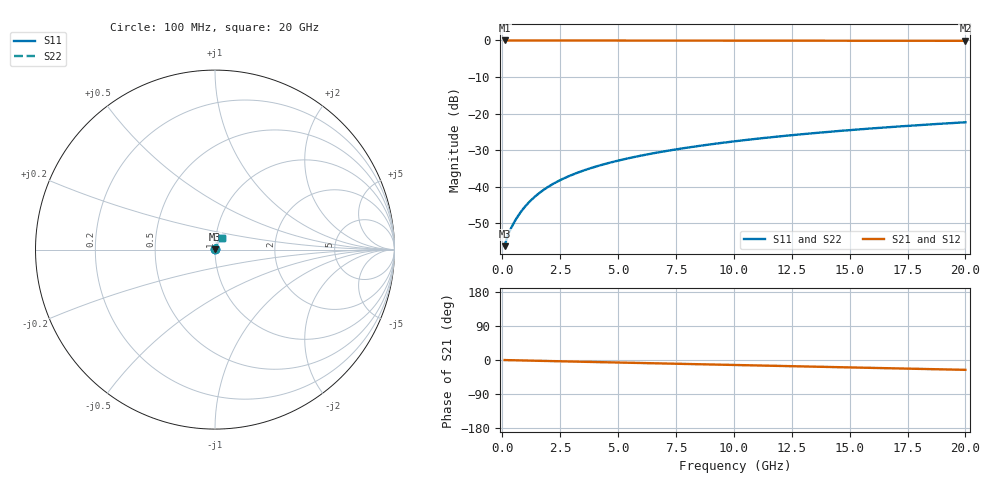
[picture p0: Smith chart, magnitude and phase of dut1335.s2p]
! Touchstone file exported from HFSS 2026.1.0
!  File:  C:/ffzhzh/LocalFiles/Ansys_Project_Files/temp_train_BSMRDL_1335_1783178762_51560.aedt
!  Generated:  11:27:15 PM Jul  4, 2026
!  Design:  BSMRDL
!  Project:  temp_train_BSMRDL_1335_1783178762_51560
! Variables:
!  h_bsmrdl = 5.08um
!  h_ox = 20um
!  h_rdl = 5um
!  h_sub = 80um
!  h_tmrdl = 5um
!  h_tsv = 80um
!  h_via = 3um
!  l_bsmrdl = 442.97um
!  l_sub = 842.97um
!  l_tmrdl = 200um
!  m_sub = 200um
!  pitch = 37.55um
!  r_tsv = 6um
!  s_tmrdl = 10um
!  w_bsmrdl = 28.63um
!  w_sub = 500um
!  w_tmrdl = 12um
!  x_tsv_center1 = 206um
!  x_tsv_center2 = 677.6um
!  x_tsv_center3 = 889.6um
!  x_tsv_center4 = 1361.2um
!  x_tsv_center5 = 1573.2um
!  x_tsv_center6 = 2044.8um
# GHz S MA R 50.000000
! Terminal data exported
! Port[1] = BSM_RDL1_1_T1
! Port[2] = BSM_RDL1_1_T2
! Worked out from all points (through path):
!   200 points, 100 MHz to 20 GHz, reference 50 ohm
!   highest |S21| = -0.01 dB at 100 MHz (marker M1); lowest = -0.1 dB at 20 GHz (marker M2)
!   group delay of S21, straight-line fit = 3.59 ps
!   lowest |S11| = -56.3 dB at 100 MHz (marker M3), VSWR 1.00, Z = 50.1 + j0.0755 ohm
!   |S11| at or under -10 dB: start of sweep to end of sweep
!   |S22| runs from -56.3 to -22.4 dB; largest |S21 - S12| = 2.2e-15
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0.1  0.001537 29.3  0.9987 -0.2  0.9987 -0.2  0.001537 29.3
! Gamma 0 0 0 0
! Port Impedance 50 0 50 0
0.2  0.002005 39.8  0.9985 -0.3  0.9985 -0.3  0.002005 39.8
0.3  0.002407 46.3  0.9983 -0.4  0.9983 -0.4  0.002407 46.3
0.5  0.003206 55.8  0.9981 -0.7  0.9981 -0.7  0.003206 55.8
0.7  0.004063 62.0  0.998 -1.0  0.998 -1.0  0.004064 62.0
0.9  0.004963 65.9  0.9979 -1.2  0.9979 -1.2  0.004963 65.9
1.1  0.005883 68.5  0.9978 -1.5  0.9978 -1.5  0.005883 68.5
1.3  0.006812 70.2  0.9978 -1.8  0.9978 -1.8  0.006811 70.1
1.7  0.008667 72.1  0.9975 -2.3  0.9975 -2.3  0.008667 72.1
2.2  0.01095 73.0  0.9972 -3.0  0.9972 -3.0  0.01095 73.0
2.8  0.01361 73.3  0.9968 -3.8  0.9968 -3.8  0.01361 73.3
3.5  0.01661 73.0  0.9963 -4.7  0.9963 -4.7  0.01661 73.0
4.2  0.0195 72.6  0.9958 -5.6  0.9958 -5.6  0.0195 72.6
5  0.02272 72.0  0.9953 -6.7  0.9953 -6.7  0.02272 72.0
5.9  0.02625 71.3  0.9947 -7.8  0.9947 -7.8  0.02625 71.3
6.8  0.02971 70.6  0.9942 -9.0  0.9942 -9.0  0.02971 70.6
8.3  0.03536 69.2  0.9933 -10.9  0.9933 -10.9  0.03537 69.2
10.1  0.042 67.6  0.9924 -13.3  0.9924 -13.3  0.042 67.5
11.7  0.04778 66.0  0.9916 -15.3  0.9916 -15.3  0.04778 65.9
13.4  0.0538 64.2  0.9907 -17.5  0.9907 -17.5  0.05381 64.2
16.7  0.06515 60.7  0.9891 -21.8  0.9891 -21.8  0.06516 60.6
20  0.076 57.0  0.9875 -26.0  0.9875 -26.0  0.07601 56.9
